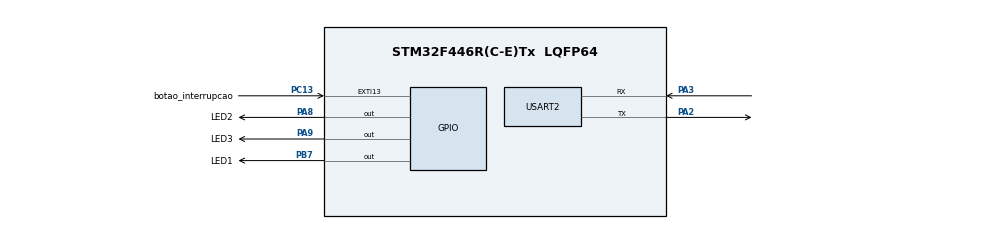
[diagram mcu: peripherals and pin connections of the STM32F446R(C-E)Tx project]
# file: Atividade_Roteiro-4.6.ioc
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FREERTOS.CountingSemaphores01=MeuSemaphoroContador,3,Dynamic,NULL,0
FREERTOS.Tasks01=Task1,24,128,StartTask1,Default,NULL,Dynamic,NULL,NULL;Task2,24,128,StartTask2,Default,NULL,Dynamic,NULL,NULL;Task3,24,128,StartTask3,Default,NULL,Dynamic,NULL,NULL
FREERTOS.configUSE_NEWLIB_REENTRANT=1
Mcu.Family=STM32F4
Mcu.Name=STM32F446R(C-E)Tx
Mcu.Package=LQFP64
NVIC.EXTI15_10_IRQn=true\:5\:0\:false\:false\:true\:true\:true\:true\:true
NVIC.PriorityGroup=NVIC_PRIORITYGROUP_4
NVIC.TIM1_UP_TIM10_IRQn=true\:15\:0\:false\:false\:true\:false\:false\:true\:true
NVIC.TimeBase=TIM1_UP_TIM10_IRQn
NVIC.TimeBaseIP=TIM1
PA2.Mode=Asynchronous
PA2.Signal=USART2_TX
PA3.Mode=Asynchronous
PA3.Signal=USART2_RX
PA8.GPIO_Label=LED2
PA8.Signal=GPIO_Output
PA9.GPIO_Label=LED3
PA9.Signal=GPIO_Output
PB7.GPIO_Label=LED1
PB7.Signal=GPIO_Output
PC13.GPIO_Label=botao_interrupcao
PC13.Signal=GPXTI13
ProjectManager.HeapSize=0x200
ProjectManager.StackSize=0x400
ProjectManager.TargetToolchain=STM32CubeIDE
RCC.CortexFreq_Value=16000000
RCC.USBFreq_Value=96000000
RCC.VCOOutputFreq_Value=192000000
USART2.VirtualMode=VM_ASYNC
VP_FREERTOS_VS_CMSIS_V2.Mode=CMSIS_V2
VP_SYS_VS_tim1.Mode=TIM1
board=custom

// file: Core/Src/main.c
/* USER CODE BEGIN Header */
/**
  ******************************************************************************
  * @file           : main.c
  * @brief          : Main program body
  ******************************************************************************
  * @attention
  *
  * Copyright (c) 2025 STMicroelectronics.
  * All rights reserved.
  *
  * This software is licensed under terms that can be found in the LICENSE file
  * in the root directory of this software component.
  * If no LICENSE file comes with this software, it is provided AS-IS.
  *
  ******************************************************************************
  */
/* USER CODE END Header */
#include "main.h"
#include "cmsis_os.h"

UART_HandleTypeDef huart2;

/* Definitions for Task1 */
osThreadId_t Task1Handle;
const osThreadAttr_t Task1_attributes = {
  .name = "Task1",
  .stack_size = 128 * 4,
  .priority = (osPriority_t) osPriorityNormal,
};
/* Definitions for Task2 */
osThreadId_t Task2Handle;
const osThreadAttr_t Task2_attributes = {
  .name = "Task2",
  .stack_size = 128 * 4,
  .priority = (osPriority_t) osPriorityNormal,
};
/* Definitions for Task3 */
osThreadId_t Task3Handle;
const osThreadAttr_t Task3_attributes = {
  .name = "Task3",
  .stack_size = 128 * 4,
  .priority = (osPriority_t) osPriorityNormal,
};
/* Definitions for MeuSemaphoroContador */
osSemaphoreId_t MeuSemaphoroContadorHandle;
const osSemaphoreAttr_t MeuSemaphoroContador_attributes = {
  .name = "MeuSemaphoroContador"
};

void SystemClock_Config(void);
static void MX_GPIO_Init(void);
static void MX_USART2_UART_Init(void);
void StartTask1(void *argument);
void StartTask2(void *argument);
void StartTask3(void *argument);

int main(void)
{

  /* MCU Configuration--------------------------------------------------------*/

  /* Reset of all peripherals, Initializes the Flash interface and the Systick. */
  HAL_Init();

  /* Configure the system clock */
  SystemClock_Config();

  /* Initialize all configured peripherals */
  MX_GPIO_Init();
  MX_USART2_UART_Init();

  /* Init scheduler */
  osKernelInitialize();

  /* Create the semaphores(s) */
  /* creation of MeuSemaphoroContador */
  MeuSemaphoroContadorHandle = osSemaphoreNew(3, 0, &MeuSemaphoroContador_attributes);

  /* Create the thread(s) */
  /* creation of Task1 */
  Task1Handle = osThreadNew(StartTask1, NULL, &Task1_attributes);

  /* creation of Task2 */
  Task2Handle = osThreadNew(StartTask2, NULL, &Task2_attributes);

  /* creation of Task3 */
  Task3Handle = osThreadNew(StartTask3, NULL, &Task3_attributes);

  /* Start scheduler */
  osKernelStart();

  /* We should never get here as control is now taken by the scheduler */

  /* Infinite loop */
  while (1)
  {

  }
}

void SystemClock_Config(void)
{
  RCC_OscInitTypeDef RCC_OscInitStruct = {0};
  RCC_ClkInitTypeDef RCC_ClkInitStruct = {0};

  /** Configure the main internal regulator output voltage
  */
  __HAL_RCC_PWR_CLK_ENABLE();
  __HAL_PWR_VOLTAGESCALING_CONFIG(PWR_REGULATOR_VOLTAGE_SCALE3);

  /** Initializes the RCC Oscillators according to the specified parameters
  * in the RCC_OscInitTypeDef structure.
  */
  RCC_OscInitStruct.OscillatorType = RCC_OSCILLATORTYPE_HSI;
  RCC_OscInitStruct.HSIState = RCC_HSI_ON;
  RCC_OscInitStruct.HSICalibrationValue = RCC_HSICALIBRATION_DEFAULT;
  RCC_OscInitStruct.PLL.PLLState = RCC_PLL_NONE;
  if (HAL_RCC_OscConfig(&RCC_OscInitStruct) != HAL_OK)
  {
    Error_Handler();
  }

  /** Initializes the CPU, AHB and APB buses clocks
  */
  RCC_ClkInitStruct.ClockType = RCC_CLOCKTYPE_HCLK|RCC_CLOCKTYPE_SYSCLK
                              |RCC_CLOCKTYPE_PCLK1|RCC_CLOCKTYPE_PCLK2;
  RCC_ClkInitStruct.SYSCLKSource = RCC_SYSCLKSOURCE_HSI;
  RCC_ClkInitStruct.AHBCLKDivider = RCC_SYSCLK_DIV1;
  RCC_ClkInitStruct.APB1CLKDivider = RCC_HCLK_DIV1;
  RCC_ClkInitStruct.APB2CLKDivider = RCC_HCLK_DIV1;

  if (HAL_RCC_ClockConfig(&RCC_ClkInitStruct, FLASH_LATENCY_0) != HAL_OK)
  {
    Error_Handler();
  }
}

static void MX_USART2_UART_Init(void)
{

  huart2.Instance = USART2;
  huart2.Init.BaudRate = 115200;
  huart2.Init.WordLength = UART_WORDLENGTH_8B;
  huart2.Init.StopBits = UART_STOPBITS_1;
  huart2.Init.Parity = UART_PARITY_NONE;
  huart2.Init.Mode = UART_MODE_TX_RX;
  huart2.Init.HwFlowCtl = UART_HWCONTROL_NONE;
  huart2.Init.OverSampling = UART_OVERSAMPLING_16;
  if (HAL_UART_Init(&huart2) != HAL_OK)
  {
    Error_Handler();
  }

}

static void MX_GPIO_Init(void)
{
  GPIO_InitTypeDef GPIO_InitStruct = {0};

  /* GPIO Ports Clock Enable */
  __HAL_RCC_GPIOC_CLK_ENABLE();
  __HAL_RCC_GPIOA_CLK_ENABLE();
  __HAL_RCC_GPIOB_CLK_ENABLE();

  /*Configure GPIO pin Output Level */
  HAL_GPIO_WritePin(GPIOA, LED2_Pin|LED3_Pin, GPIO_PIN_RESET);

  /*Configure GPIO pin Output Level */
  HAL_GPIO_WritePin(LED1_GPIO_Port, LED1_Pin, GPIO_PIN_RESET);

  /*Configure GPIO pin : botao_interrupcao_Pin */
  GPIO_InitStruct.Pin = botao_interrupcao_Pin;
  GPIO_InitStruct.Mode = GPIO_MODE_IT_RISING;
  GPIO_InitStruct.Pull = GPIO_NOPULL;
  HAL_GPIO_Init(botao_interrupcao_GPIO_Port, &GPIO_InitStruct);

  /*Configure GPIO pins : LED2_Pin LED3_Pin */
  GPIO_InitStruct.Pin = LED2_Pin|LED3_Pin;
  GPIO_InitStruct.Mode = GPIO_MODE_OUTPUT_PP;
  GPIO_InitStruct.Pull = GPIO_NOPULL;
  GPIO_InitStruct.Speed = GPIO_SPEED_FREQ_LOW;
  HAL_GPIO_Init(GPIOA, &GPIO_InitStruct);

  /*Configure GPIO pin : LED1_Pin */
  GPIO_InitStruct.Pin = LED1_Pin;
  GPIO_InitStruct.Mode = GPIO_MODE_OUTPUT_PP;
  GPIO_InitStruct.Pull = GPIO_NOPULL;
  GPIO_InitStruct.Speed = GPIO_SPEED_FREQ_LOW;
  HAL_GPIO_Init(LED1_GPIO_Port, &GPIO_InitStruct);

  /* EXTI interrupt init*/
  HAL_NVIC_SetPriority(EXTI15_10_IRQn, 5, 0);
  HAL_NVIC_EnableIRQ(EXTI15_10_IRQn);

}

/* USER CODE BEGIN 4 */
HAL_GPIO_EXTI_Callback(uint16_t GPIO_Pin){
	char str [] = "Botao Apertado - Release no Semaphoro\n";
	HAL_UART_Transmit(&huart2, (uint8_t *)str, strlen(str), HAL_MAX_DELAY);
	osSemaphoreRelease(MeuSemaphoroContadorHandle);
}
/* USER CODE END 4 */

void StartTask1(void *argument)
{
  /* USER CODE BEGIN 5 */
	osSemaphoreAcquire(MeuSemaphoroContadorHandle, osWaitForever);
  /* Infinite loop */
  for(;;)
  {
	char str [] = "Iniciando Task1\n";
	HAL_UART_Transmit(&huart2, (uint8_t *)str, strlen(str), HAL_MAX_DELAY);
	HAL_GPIO_TogglePin(LED1_GPIO_Port,LED1_Pin);

    osDelay(500);
  }
  /* USER CODE END 5 */
}

void StartTask2(void *argument)
{
  /* USER CODE BEGIN StartTask2 */
	osSemaphoreAcquire(MeuSemaphoroContadorHandle, osWaitForever);
  /* Infinite loop */
  for(;;)
  {
	char str [] = "Iniciando Task2\n";
	HAL_UART_Transmit(&huart2, (uint8_t *)str, strlen(str), HAL_MAX_DELAY);
	HAL_GPIO_TogglePin(LED2_GPIO_Port,LED2_Pin);
	osDelay(500);
  }
  /* USER CODE END StartTask2 */
}

void StartTask3(void *argument)
{
  /* USER CODE BEGIN StartTask3 */
	osSemaphoreAcquire(MeuSemaphoroContadorHandle, osWaitForever);
  /* Infinite loop */
  for(;;)
  {
	char str [] = "Iniciando Task3\n";
	HAL_UART_Transmit(&huart2, (uint8_t *)str, strlen(str), HAL_MAX_DELAY);
	HAL_GPIO_TogglePin(LED3_GPIO_Port,LED3_Pin);
	osDelay(500);
  }
  /* USER CODE END StartTask3 */
}

void HAL_TIM_PeriodElapsedCallback(TIM_HandleTypeDef *htim)
{
  if (htim->Instance == TIM1)
  {
    HAL_IncTick();
  }
}

void Error_Handler(void)
{
  __disable_irq();
  while (1)
  {
  }
}
